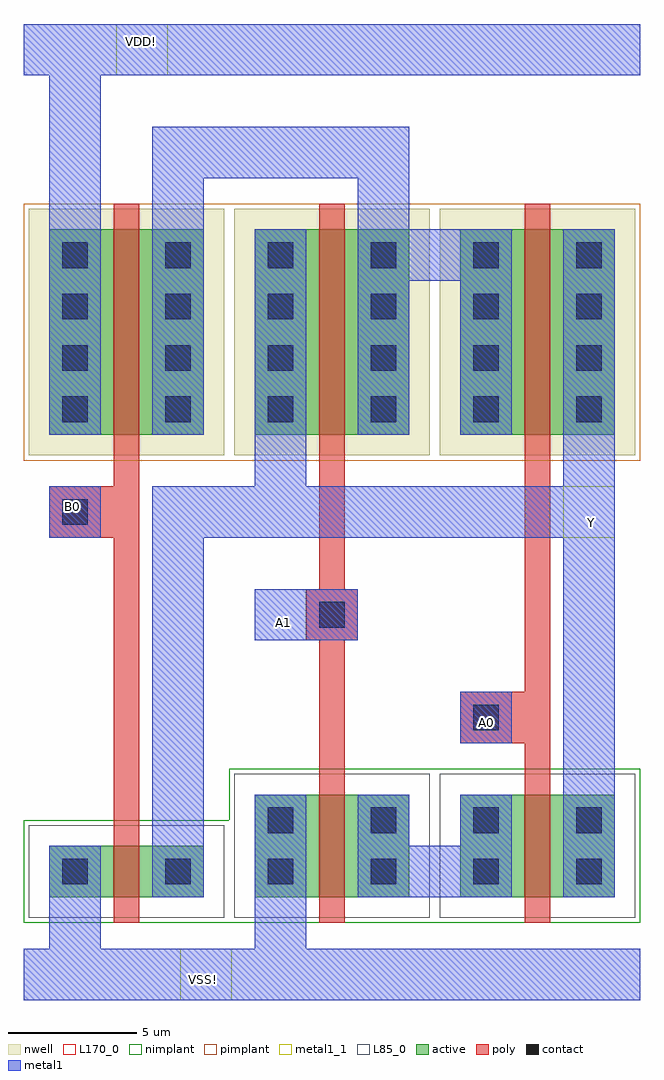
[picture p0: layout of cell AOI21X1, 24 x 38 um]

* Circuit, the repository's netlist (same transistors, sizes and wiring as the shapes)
* +++++++++++++++++++++++++++++++++++++++++++++++++++++++++ *
* CDL Netlist:                                              *
*                                                           *
* Cell Name  : AOI21X1                                      *
* Netlisted  : Tue Dec 21 06:02:52 2021                     *
* PVS Version: 16.15-s010 Fri Jun 28 22:24:07 PDT 2019      *
* +++++++++++++++++++++++++++++++++++++++++++++++++++++++++ *
*.LDD
*.DEVTMPLT 0 MN(nmos3) _nmos1v _soi_nd(D) poly_conn(G) _soi_nsb(S) _soi_nsb(B)
*.DEVTMPLT 1 MP(pmos3) _pmos1v _soi_pd(D) poly_conn(G) _soi_psb(S) _soi_psb(B)

* +++++++++++++++++++++++++++++++++++++++++++++++++++++++++ *
* Sub cell: nmos3_CDNS_2                                    *
* +++++++++++++++++++++++++++++++++++++++++++++++++++++++++ *
.subckt nmos3_CDNS_2 2 3 4
** N=4 EP=3 FDC=1
M0 3 4 2 2 nmos3 L=1e-06 W=4e-06 AD=1e-11 AS=0 PD=1.3e-05 PS=0 fw=4e-06 sa=2e-06 sb=2e-06 $X=7000 $Y=2000 $dt=0
.ends nmos3_CDNS_2

* +++++++++++++++++++++++++++++++++++++++++++++++++++++++++ *
* Sub cell: pmos3_CDNS_3                                    *
* +++++++++++++++++++++++++++++++++++++++++++++++++++++++++ *
.subckt pmos3_CDNS_3 2 3 4
** N=5 EP=3 FDC=1
M0 3 4 2 2 pmos3 L=1e-06 W=8e-06 AD=2e-11 AS=0 PD=2.1e-05 PS=0 fw=8e-06 sa=2e-06 sb=2e-06 $X=7000 $Y=2000 $dt=1
.ends pmos3_CDNS_3

* +++++++++++++++++++++++++++++++++++++++++++++++++++++++++ *
* Sub cell: nmos3_CDNS_4                                    *
* +++++++++++++++++++++++++++++++++++++++++++++++++++++++++ *
.subckt nmos3_CDNS_4 2 3 4
** N=4 EP=3 FDC=1
M0 3 4 2 2 nmos3 L=1e-06 W=2e-06 AD=5e-12 AS=0 PD=9e-06 PS=0 fw=2e-06 sa=2e-06 sb=2e-06 $X=7000 $Y=2000 $dt=0
.ends nmos3_CDNS_4

* +++++++++++++++++++++++++++++++++++++++++++++++++++++++++ *
* Sub cell: AOI21X1                                         *
* +++++++++++++++++++++++++++++++++++++++++++++++++++++++++ *
.subckt AOI21X1 A0 A1 B0 VDD! VSS! Y
** N=10 EP=6 FDC=6
X3 VSS! 6 A1 nmos3_CDNS_2 $T=32000 4000 1 180 $X=16000 $Y=4000
X4 6 Y A0 nmos3_CDNS_2 $T=48000 4000 1 180 $X=32000 $Y=4000
X5 VDD! 9 B0 pmos3_CDNS_3 $T=16000 60000 0 180 $X=0 $Y=38000
X6 9 Y A1 pmos3_CDNS_3 $T=16000 60000 1 0 $X=16000 $Y=38000
X7 9 Y A0 pmos3_CDNS_3 $T=48000 60000 0 180 $X=32000 $Y=38000
X8 VSS! Y B0 nmos3_CDNS_4 $T=16000 4000 1 180 $X=0 $Y=4000
.ends AOI21X1

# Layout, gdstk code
from math import pi, radians
import gdstk
lib = gdstk.Library(unit=1e-6, precision=5e-10)
def R(c, l, rs):  # rectangles x0, y0, x1, y1
    for r in rs: c.add(gdstk.rectangle(r[:2], r[2:], *l))
def A(c, l, x, y, w, h, nx, ny, dx, dy):  # array of equal rectangles
    R(c, l, [(x+i*dx, y+j*dy, x+i*dx+w, y+j*dy+h) for i in range(nx) for j in range(ny)])
active = (1, 0)
nwell = (2, 0)
poly = (3, 0)
nimplant = (4, 0)
pimplant = (5, 0)
contact = (6, 0)
metal1 = (7, 0)
metal1_1 = (7, 1)
L85_0 = (85, 0)
L170_0 = (170, 0)

nmos3_cdns_2 = lib.new_cell('nmos3_CDNS_2')
R(nmos3_cdns_2, active, [(1,1,7,5)])
R(nmos3_cdns_2, poly, [(3.5,0,4.5,7), (3.6,5.5,4.4,5.9)])
R(nmos3_cdns_2, nimplant, [(0,0,8,6)])
R(nmos3_cdns_2, contact, [(1.5,1.5,2.5,2.5), (5.5,1.5,6.5,2.5), (5.5,1.5,6.5,2.5), (1.5,3.5,2.5,4.5), (5.5,3.5,6.5,4.5)])
R(nmos3_cdns_2, metal1, [(1,1,3,5), (5,1,7,5), (1.3,1.3,2.7,4.7), (5.3,1.3,6.7,4.7)])
R(nmos3_cdns_2, L85_0, [(0.2,0.2,7.8,5.8)])
R(nmos3_cdns_2, L170_0, [(4.5,1,7,5)])

pmos3_cdns_3 = lib.new_cell('pmos3_CDNS_3')
R(pmos3_cdns_3, active, [(1,1,7,9)])
R(pmos3_cdns_3, nwell, [(0.2,0.2,7.8,9.8)])
R(pmos3_cdns_3, poly, [(3.5,0,4.5,11), (3.6,9.6,4.4,9.9)])
R(pmos3_cdns_3, pimplant, [(0,0,8,10)])
A(pmos3_cdns_3, contact, 1.5, 1.5, 1, 1, 1, 4, 0, 2)
A(pmos3_cdns_3, contact, 5.5, 1.5, 1, 1, 1, 4, 0, 2)
R(pmos3_cdns_3, contact, [(5.5,1.5,6.5,2.5)])
R(pmos3_cdns_3, metal1, [(1,1,3,9), (5,1,7,9), (1.3,1.3,2.7,2.7), (5.3,1.3,6.7,2.7)])
R(pmos3_cdns_3, L170_0, [(4.5,1,7,9)])

nmos3_cdns_4 = lib.new_cell('nmos3_CDNS_4')
R(nmos3_cdns_4, active, [(1,1,7,3)])
R(nmos3_cdns_4, poly, [(3.5,0,4.5,5), (3.6,3.5,4.4,3.9)])
R(nmos3_cdns_4, nimplant, [(0,0,8,4)])
R(nmos3_cdns_4, contact, [(1.5,1.5,2.5,2.5), (5.5,1.5,6.5,2.5), (5.5,1.5,6.5,2.5)])
R(nmos3_cdns_4, metal1, [(1,1,3,3), (5,1,7,3), (1.3,1.3,2.7,2.7), (5.3,1.3,6.7,2.7)])
R(nmos3_cdns_4, L85_0, [(0.2,0.2,7.8,3.8)])
R(nmos3_cdns_4, L170_0, [(4.5,1,7,3)])

m1_po_cdns_1 = lib.new_cell('M1_PO_CDNS_1')
R(m1_po_cdns_1, poly, [(-1,-1,1,1)])
R(m1_po_cdns_1, contact, [(-0.5,-0.5,0.5,0.5)])
R(m1_po_cdns_1, metal1, [(-1,-1,1,1)])

aoi21x1 = lib.new_cell('AOI21X1')
R(aoi21x1, poly, [(18.8,9,20.3,11), (2.7,17,3.9,19)])
R(aoi21x1, metal1, [(17,9,19,11), (9,13,13,15), (1,17,3,19)])
R(aoi21x1, metal1_1, [(6.1,-1,8.1,1), (17,9,19,11), (9,13,11,15), (1,17,3,19), (21,17,23,19), (3.6,35,5.6,37)])
aoi21x1.add(gdstk.FlexPath([(4,5.2),(4,20.8)], 1, ends="flush", simple_path=True, layer=3, datatype=0))  # poly
aoi21x1.add(gdstk.FlexPath([(12,7),(12,20.8)], 1, ends="flush", simple_path=True, layer=3, datatype=0))  # poly
aoi21x1.add(gdstk.FlexPath([(20,7),(20,20.8)], 1, ends="flush", simple_path=True, layer=3, datatype=0))  # poly
aoi21x1.add(gdstk.FlexPath([(0,0),(2,0)], 2, ends=(0, 1), simple_path=True, layer=7, datatype=0))  # metal1
aoi21x1.add(gdstk.FlexPath([(10,7),(10,0)], 2, ends=(0, 1), simple_path=True, layer=7, datatype=0))  # metal1
aoi21x1.add(gdstk.FlexPath([(6,18),(10,18)], 2, ends="extended", simple_path=True, layer=7, datatype=0))  # metal1
aoi21x1.add(gdstk.FlexPath([(10,28.7),(10,18)], 2, ends=(0, 1), simple_path=True, layer=7, datatype=0))  # metal1
aoi21x1.add(gdstk.FlexPath([(22,3.2),(22,18)], 2, ends=(0, 1), simple_path=True, layer=7, datatype=0))  # metal1
aoi21x1.add(gdstk.FlexPath([(10,18),(22,18)], 2, ends="extended", simple_path=True, layer=7, datatype=0))  # metal1
aoi21x1.add(gdstk.FlexPath([(6,3.1),(6,18)], 2, ends=(0, 1), simple_path=True, layer=7, datatype=0))  # metal1
aoi21x1.add(gdstk.FlexPath([(14,28),(18.7,28)], 2, ends=(1, 0), simple_path=True, layer=7, datatype=0))  # metal1
aoi21x1.add(gdstk.FlexPath([(14,28),(14,27.3)], 2, ends=(1, 0), simple_path=True, layer=7, datatype=0))  # metal1
aoi21x1.add(gdstk.FlexPath([(14,32),(14,28)], 2, ends="extended", simple_path=True, layer=7, datatype=0))  # metal1
aoi21x1.add(gdstk.FlexPath([(6,32),(14,32)], 2, ends="extended", simple_path=True, layer=7, datatype=0))  # metal1
aoi21x1.add(gdstk.FlexPath([(6,27.3),(6,32)], 2, ends=(0, 1), simple_path=True, layer=7, datatype=0))  # metal1
aoi21x1.add(gdstk.FlexPath([(13.3,28),(14,28)], 2, ends=(0, 1), simple_path=True, layer=7, datatype=0))  # metal1
aoi21x1.add(gdstk.FlexPath([(18,6.7),(18,4)], 2, ends=(0, 1), simple_path=True, layer=7, datatype=0))  # metal1
aoi21x1.add(gdstk.FlexPath([(22,18),(22,28.7)], 2, ends=(1, 0), simple_path=True, layer=7, datatype=0))  # metal1
aoi21x1.add(gdstk.FlexPath([(18,4),(13.3,4)], 2, ends=(1, 0), simple_path=True, layer=7, datatype=0))  # metal1
aoi21x1.add(gdstk.FlexPath([(10,0),(24,0)], 2, ends=(1, 0), simple_path=True, layer=7, datatype=0))  # metal1
aoi21x1.add(gdstk.FlexPath([(2,5),(2,0)], 2, ends=(0, 1), simple_path=True, layer=7, datatype=0))  # metal1
aoi21x1.add(gdstk.FlexPath([(0,36),(2,36)], 2, ends=(0, 1), simple_path=True, layer=7, datatype=0))  # metal1
aoi21x1.add(gdstk.FlexPath([(2,27.3),(2,36)], 2, ends=(0, 1), simple_path=True, layer=7, datatype=0))  # metal1
aoi21x1.add(gdstk.FlexPath([(2,0),(10,0)], 2, ends="extended", simple_path=True, layer=7, datatype=0))  # metal1
aoi21x1.add(gdstk.FlexPath([(2,36),(24,36)], 2, ends=(1, 0), simple_path=True, layer=7, datatype=0))  # metal1
aoi21x1.add(gdstk.Reference(nmos3_cdns_2, (24,2), rotation=pi, x_reflection=True))
aoi21x1.add(gdstk.Reference(nmos3_cdns_2, (16,2), rotation=pi, x_reflection=True))
aoi21x1.add(gdstk.Reference(pmos3_cdns_3, (8,30), x_reflection=True))
aoi21x1.add(gdstk.Reference(pmos3_cdns_3, (8,30), rotation=pi))
aoi21x1.add(gdstk.Reference(pmos3_cdns_3, (24,30), rotation=pi))
aoi21x1.add(gdstk.Reference(nmos3_cdns_4, (8,2), rotation=pi, x_reflection=True))
aoi21x1.add(gdstk.Reference(m1_po_cdns_1, (18,10)))
aoi21x1.add(gdstk.Reference(m1_po_cdns_1, (12,14)))
aoi21x1.add(gdstk.Reference(m1_po_cdns_1, (2,18)))
aoi21x1.add(gdstk.Label('VSS!', (7,-0.2), layer=7, texttype=3))
aoi21x1.add(gdstk.Label('VDD!', (4.6,36.3), layer=7, texttype=3))
aoi21x1.add(gdstk.Label('A0', (18,9.8), layer=7, texttype=3))
aoi21x1.add(gdstk.Label('A1', (10.1,13.7), layer=7, texttype=3))
aoi21x1.add(gdstk.Label('Y', (22.1,17.6), layer=7, texttype=3))
aoi21x1.add(gdstk.Label('B0', (1.9,18.2), layer=7, texttype=3))

lib.write_gds('AOI21X1.gds')
